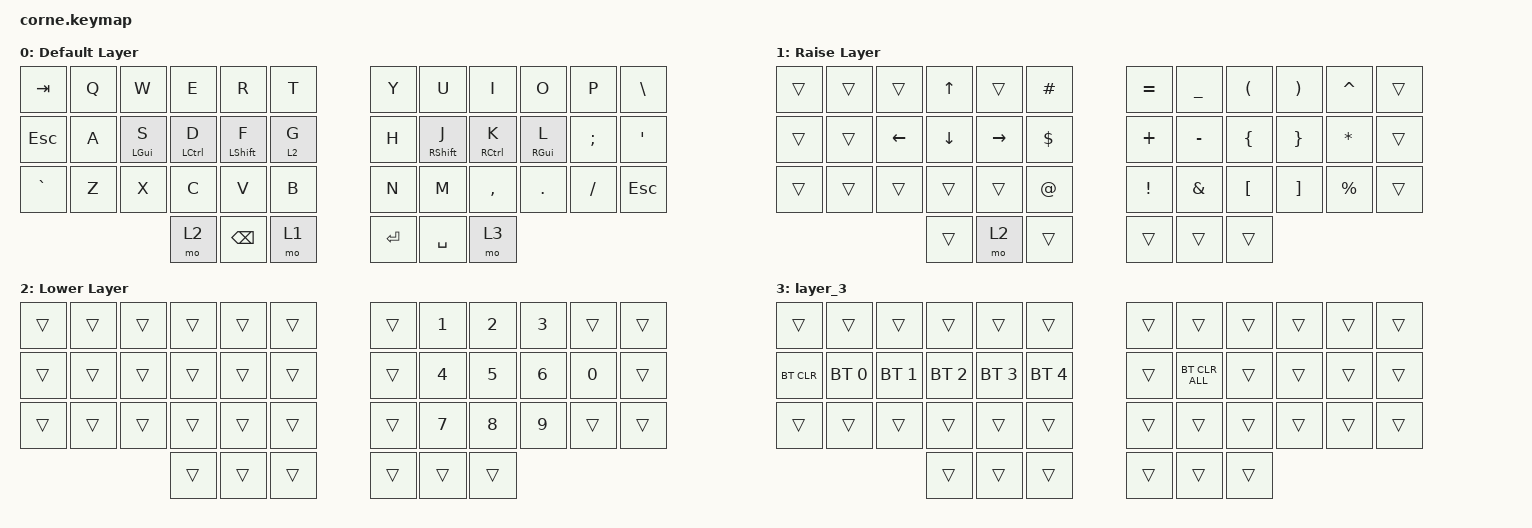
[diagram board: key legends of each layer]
/*
 * Copyright (c) 2020 The ZMK Contributors
 *
 * SPDX-License-Identifier: MIT
 */

#include <behaviors.dtsi>
#include <dt-bindings/zmk/bt.h>
#include <dt-bindings/zmk/keys.h>

/ {
    behaviors {
        hml: hml {
            compatible = "zmk,behavior-hold-tap";
            label = "HML";
            bindings = <&kp>, <&kp>;

            #binding-cells = <2>;
            tapping-term-ms = <280>;
            quick-tap-ms = <175>;
            require-prior-idle-ms = <150>;
            flavor = "balanced";
            hold-trigger-on-release;
            hold-trigger-key-positions = <6 7 8 9 9 10 11 21 22 23 33 34 35 6 7 8 9 10 18 19 20 21 22 30 31 32 33 34 39 40 41>;
        };

        hmr: hmr {
            compatible = "zmk,behavior-hold-tap";
            label = "HMR";
            bindings = <&kp>, <&kp>;

            #binding-cells = <2>;
            tapping-term-ms = <280>;
            quick-tap-ms = <175>;
            require-prior-idle-ms = <150>;
            flavor = "balanced";
            hold-trigger-key-positions = <0 1 2 3 4 5 12 13 14 15 16 17 24 25 26 27 28 29 36 37 38>;
            hold-trigger-on-release;
        };

        hml_layer: hml_layer {
            compatible = "zmk,behavior-hold-tap";
            label = "HML_LAYER";
            bindings = <&mo>, <&kp>;

            #binding-cells = <2>;
            tapping-term-ms = <280>;
            quick-tap-ms = <175>;
            require-prior-idle-ms = <150>;
            flavor = "balanced";
            hold-trigger-on-release;
            hold-trigger-key-positions = <6 7 8 9 9 10 11 21 22 23 33 34 35 6 7 8 9 10 18 19 20 21 22 30 31 32 33 34 39 40 41>;
        };
    };

    keymap {
        compatible = "zmk,keymap";

        default_layer {
            display-name = "Default Layer";

            // -----------------------------------------------------------------------------------------
            // |  TAB |  Q  |  W  |  E  |  R  |  T  |   |  Y  |  U   |  I  |  O  |  P  | BSPC |
            // | CTRL |  A  |  S  |  D  |  F  |  G  |   |  H  |  J   |  K  |  L  |  ;  |  '   |
            // | SHFT |  Z  |  X  |  C  |  V  |  B  |   |  N  |  M   |  ,  |  .  |  /  | ESC  |
            //                    | GUI | LWR | SPC |   | ENT | RSE  | ALT |

            bindings = <
&kp TAB     &kp Q  &kp W        &kp E         &kp R          &kp T             &kp Y    &kp U               &kp I         &kp O        &kp P     &kp BACKSLASH
&kp ESCAPE  &kp A  &hml LGUI S  &hml LCTRL D  &hml LSHIFT F  &hml_layer 2 G    &kp H    &hmr RIGHT_SHIFT J  &hmr RCTRL K  &hmr RGUI L  &kp SEMI  &kp SQT
&kp GRAVE   &kp Z  &kp X        &kp C         &kp V          &kp B             &kp N    &kp M               &kp COMMA     &kp DOT      &kp FSLH  &kp ESC
                                &mo 2         &kp BACKSPACE  &mo 1             &kp RET  &kp SPACE           &mo 3
            >;
        };

        raise_layer {
            display-name = "Raise Layer";

            // -----------------------------------------------------------------------------------------
            // |  TAB |  !  |  @  |  #  |  $  |  %  |   |  ^  |  &  |  *  |  (  |  )  | BSPC |
            // | CTRL |     |     |     |     |     |   |  -  |  =  |  [  |  ]  |  \  |  `   |
            // | SHFT |     |     |     |     |     |   |  _  |  +  |  {  |  }  | "|" |  ~   |
            //                    | GUI |     | SPC |   | ENT |     | ALT |

            bindings = <
&trans  &trans  &trans          &kp UP_ARROW    &trans     &kp HASH       &kp EQUAL        &kp UNDERSCORE  &kp LEFT_PARENTHESIS  &kp RIGHT_PARENTHESIS  &kp CARET     &trans
&trans  &trans  &kp LEFT_ARROW  &kp DOWN_ARROW  &kp RIGHT  &kp DOLLAR     &kp PLUS         &kp MINUS       &kp LEFT_BRACE        &kp RIGHT_BRACE        &kp ASTERISK  &trans
&trans  &trans  &trans          &trans          &trans     &kp AT_SIGN    &kp EXCLAMATION  &kp AMPERSAND   &kp LEFT_BRACKET      &kp RIGHT_BRACKET      &kp PERCENT   &trans
                                &trans          &mo 2      &trans         &trans           &trans          &trans
            >;
        };

        lower_layer {
            display-name = "Lower Layer";

            // -----------------------------------------------------------------------------------------
            // |  TAB |  1  |  2  |  3  |  4  |  5  |   |  6  |  7  |  8  |  9  |  0  | BSPC |
            // | BTCLR| BT1 | BT2 | BT3 | BT4 | BT5 |   | LFT | DWN |  UP | RGT |     |      |
            // | SHFT |     |     |     |     |     |   |     |     |     |     |     |      |
            //                    | GUI |     | SPC |   | ENT |     | ALT |

            bindings = <
&trans  &trans  &trans  &trans  &trans  &trans    &trans  &kp NUMBER_1  &kp NUMBER_2  &kp NUMBER_3  &trans  &trans
&trans  &trans  &trans  &trans  &trans  &trans    &trans  &kp NUMBER_4  &kp NUMBER_5  &kp NUMBER_6  &kp N0  &trans
&trans  &trans  &trans  &trans  &trans  &trans    &trans  &kp N7        &kp N8        &kp N9        &trans  &trans
                        &trans  &trans  &trans    &trans  &trans        &trans
            >;
        };

        layer_3 {
            bindings = <
&trans      &trans        &trans        &trans        &trans        &trans          &trans  &trans          &trans  &trans  &trans  &trans
&bt BT_CLR  &bt BT_SEL 0  &bt BT_SEL 1  &bt BT_SEL 2  &bt BT_SEL 3  &bt BT_SEL 4    &trans  &bt BT_CLR_ALL  &trans  &trans  &trans  &trans
&trans      &trans        &trans        &trans        &trans        &trans          &trans  &trans          &trans  &trans  &trans  &trans
                                        &trans        &trans        &trans          &trans  &trans          &trans
            >;
        };
    };
};
